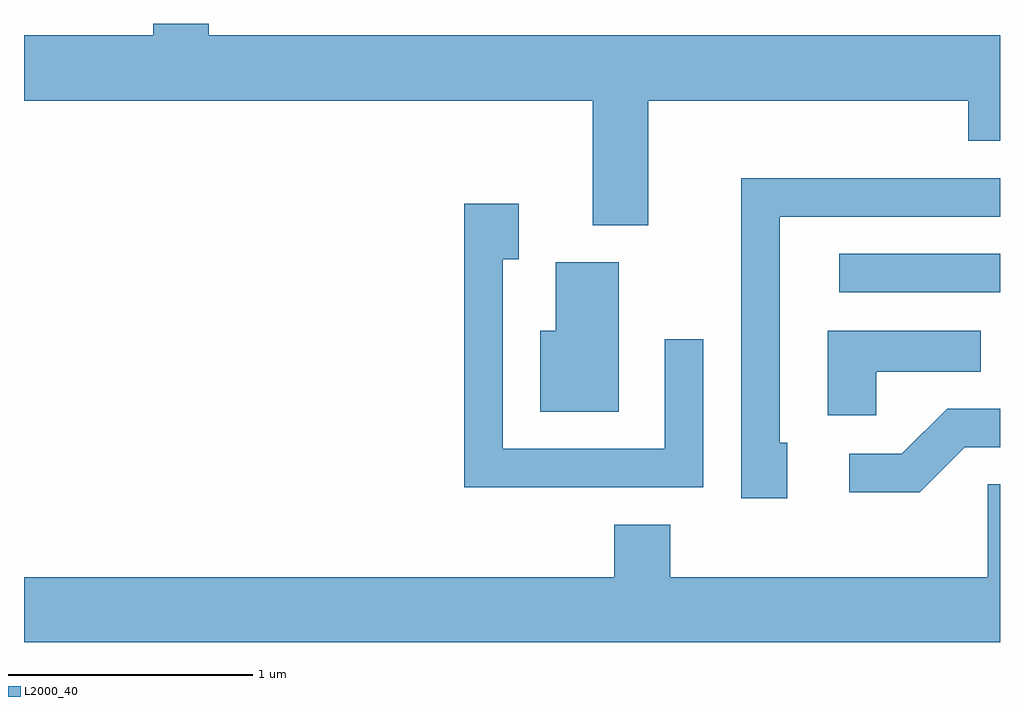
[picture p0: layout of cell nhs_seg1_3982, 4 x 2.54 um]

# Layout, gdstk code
import gdstk
lib = gdstk.Library(unit=1e-6, precision=1e-09)
def R(c, l, rs):  # rectangles x0, y0, x1, y1
    for r in rs: c.add(gdstk.rectangle(r[:2], r[2:], *l))
def P(c, l, *ps):  # polygons
    for p in ps: c.add(gdstk.Polygon(p, *l))
L2000_40 = (2000, 40)

nhs_seg1_3982 = lib.new_cell('nhs_seg1_3982')
R(nhs_seg1_3982, L2000_40, [(308.953,856.611,309.611,856.769)])
P(nhs_seg1_3982, L2000_40, [(308.169,857.396),(309.481,857.396),(309.481,857.231),(309.611,857.231),(309.611,857.664),(306.369,857.664),(306.369,857.712),(306.141,857.712),(306.141,857.664),(305.611,857.664),(305.611,857.396),(307.941,857.396),(307.941,856.886),(308.169,856.886)],
  [(308.739,855.994),(308.709,855.994),(308.709,856.921),(309.611,856.921),(309.611,857.079),(308.551,857.079),(308.551,855.766),(308.739,855.766)],
  [(308.394,856.418),(308.236,856.418),(308.236,855.969),(307.574,855.969),(307.574,856.746),(307.639,856.746),(307.639,856.974),(307.416,856.974),(307.416,855.811),(308.394,855.811)],
  [(308.049,856.734),(307.791,856.734),(307.791,856.454),(307.726,856.454),(307.726,856.121),(308.049,856.121)],
  [(309.104,856.286),(309.533,856.286),(309.533,856.454),(308.906,856.454),(308.906,856.106),(309.104,856.106)],
  [(309.467,855.976),(309.611,855.976),(309.611,856.134),(309.394,856.134),(309.209,855.949),(308.993,855.949),(308.993,855.791),(309.282,855.791)],
  [(309.611,855.824),(309.561,855.824),(309.561,855.444),(308.259,855.444),(308.259,855.659),(308.031,855.659),(308.031,855.444),(305.611,855.444),(305.611,855.176),(309.611,855.176)])

lib.write_gds('nhs_seg1_3982.gds')
